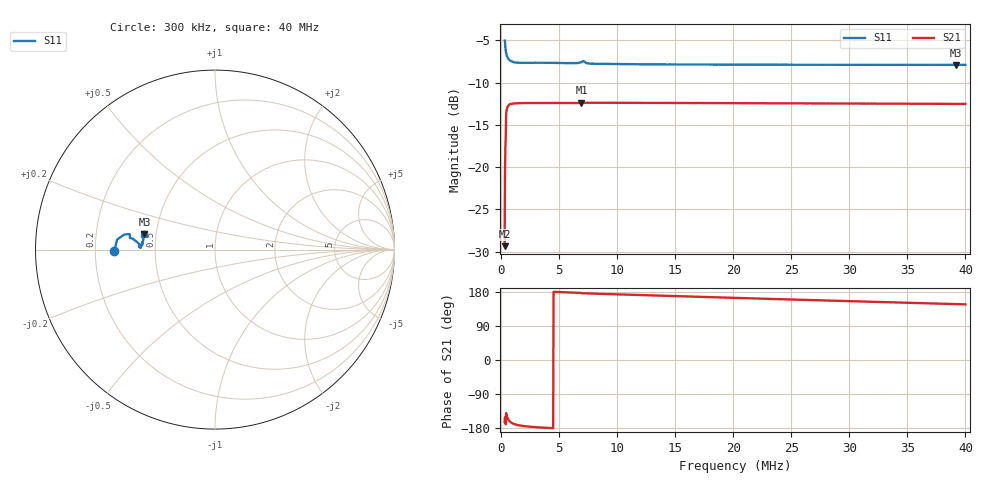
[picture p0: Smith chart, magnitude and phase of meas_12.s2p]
# HZ S RI R 50
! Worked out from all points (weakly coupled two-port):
!   1206 points, 300 kHz to 40 MHz, reference 50 ohm
!   highest |S21| = -12.38 dB at 6.922 MHz (marker M1); lowest = -29.4 dB at 300 kHz (marker M2)
!   lowest |S11| = -7.9 dB at 39.21 MHz (marker M3), VSWR 2.35, Z = 21.5 + j4.46 ohm
!   |S11| at or under -10 dB: nowhere
!   S12 and S22 are empty: the file has one direction only
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300000  -0.5617 -0.0106  -0.0327 -0.0097  0 0  0 0
530622  -0.4449 0.0506  -0.1981 -0.1068  0 0  0 0
563568  -0.4408 0.0474  -0.2052 -0.0996  0 0  0 0
596514  -0.4368 0.0445  -0.2105 -0.0935  0 0  0 0
629460  -0.4341 0.042  -0.2146 -0.0876  0 0  0 0
695352  -0.4295 0.038  -0.2206 -0.0783  0 0  0 0
893028  -0.4213 0.0295  -0.2296 -0.0589  0 0  0 0
1156596  -0.4166 0.0223  -0.2342 -0.0441  0 0  0 0
1519002  -0.4144 0.0165  -0.2369 -0.0323  0 0  0 0
2046138  -0.4138 0.0128  -0.2383 -0.022  0 0  0 0
3627546  -0.4145 0.0132  -0.2397 -0.00579  0 0  0 0
6329118  -0.4123 0.017  -0.2393 0.00978  0 0  0 0
6922146  -0.418 0.0124  -0.24 0.0161  0 0  0 0
7119822  -0.4229 0.0237  -0.2397 0.0168  0 0  0 0
7350444  -0.4124 0.0268  -0.2398 0.0176  0 0  0 0
8207040  -0.4079 0.0239  -0.2394 0.0215  0 0  0 0
1.354429e7  -0.4044 0.032  -0.236 0.0427  0 0  0 0
2.016644e7  -0.4016 0.0457  -0.2297 0.0667  0 0  0 0
2.678858e7  -0.3988 0.0599  -0.2211 0.0891  0 0  0 0
3.341073e7  -0.3959 0.0741  -0.2105 0.11  0 0  0 0
3.920923e7  -0.3931 0.0869  -0.1996 0.1272  0 0  0 0
3.999993e7  -0.393 0.0885  -0.198 0.1295  0 0  0 0
